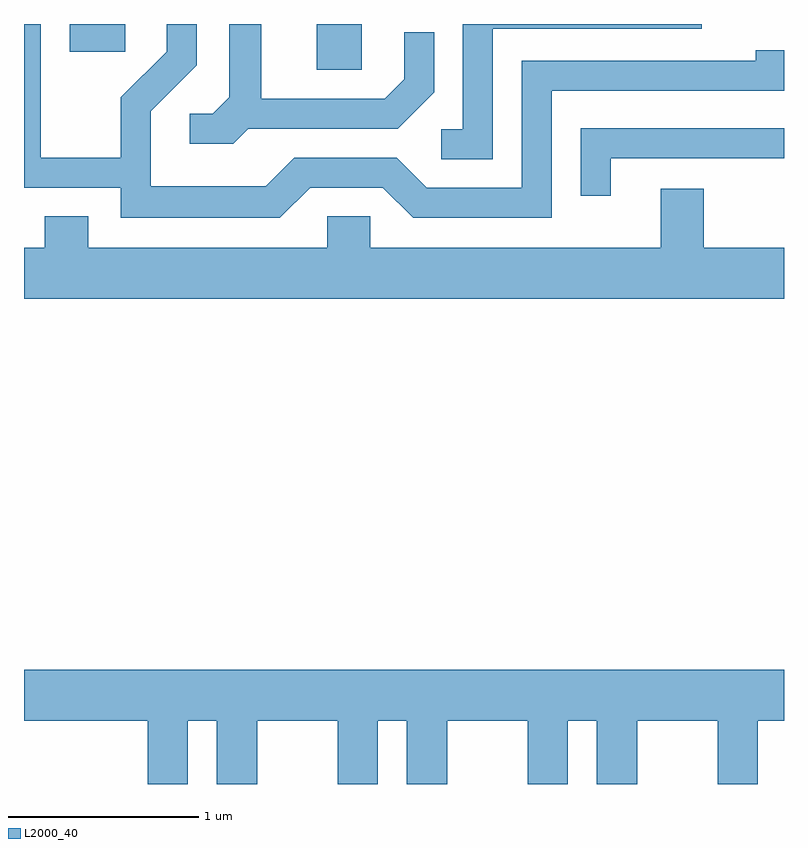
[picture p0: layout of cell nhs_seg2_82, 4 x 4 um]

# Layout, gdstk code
import gdstk
lib = gdstk.Library(unit=1e-6, precision=1e-09)
def R(c, l, rs):  # rectangles x0, y0, x1, y1
    for r in rs: c.add(gdstk.rectangle(r[:2], r[2:], *l))
def P(c, l, *ps):  # polygons
    for p in ps: c.add(gdstk.Polygon(p, *l))
L2000_40 = (2000, 40)

nhs_seg2_82 = lib.new_cell('nhs_seg2_82')
R(nhs_seg2_82, L2000_40, [(189.151,1009.561,189.389,1009.802), (187.851,1009.656,188.144,1009.802)])
P(nhs_seg2_82, L2000_40, [(189.117,1008.941),(189.499,1008.941),(189.659,1008.781),(190.389,1008.781),(190.389,1009.451),(191.611,1009.451),(191.611,1009.664),(191.461,1009.664),(191.461,1009.609),(190.231,1009.609),(190.231,1008.939),(189.732,1008.939),(189.572,1009.099),(189.034,1009.099),(188.884,1008.949),(188.279,1008.949),(188.279,1009.344),(188.519,1009.584),(188.519,1009.802),(188.361,1009.802),(188.361,1009.657),(188.121,1009.417),(188.121,1009.099),(187.699,1009.099),(187.699,1009.802),(187.611,1009.802),(187.611,1008.941),(188.121,1008.941),(188.121,1008.781),(188.957,1008.781)],
  [(190.079,1009.776),(191.178,1009.776),(191.178,1009.802),(189.921,1009.802),(189.921,1009.249),(189.808,1009.249),(189.808,1009.091),(190.079,1009.091)],
  [(188.792,1009.251),(189.577,1009.251),(189.769,1009.444),(189.769,1009.758),(189.611,1009.758),(189.611,1009.512),(189.509,1009.409),(188.859,1009.409),(188.859,1009.802),(188.691,1009.802),(188.691,1009.417),(188.604,1009.329),(188.483,1009.329),(188.483,1009.171),(188.712,1009.171)],
  [(190.699,1009.096),(191.611,1009.096),(191.611,1009.254),(190.541,1009.254),(190.541,1008.898),(190.699,1008.898)],
  [(191.611,1008.624),(191.189,1008.624),(191.189,1008.934),(190.961,1008.934),(190.961,1008.624),(189.434,1008.624),(189.434,1008.789),(189.206,1008.789),(189.206,1008.624),(187.949,1008.624),(187.949,1008.789),(187.721,1008.789),(187.721,1008.624),(187.611,1008.624),(187.611,1008.356),(191.611,1008.356)],
  [(188.474,1006.136),(188.626,1006.136),(188.626,1005.802),(188.839,1005.802),(188.839,1006.136),(189.261,1006.136),(189.261,1005.802),(189.474,1005.802),(189.474,1006.136),(189.626,1006.136),(189.626,1005.802),(189.839,1005.802),(189.839,1006.136),(190.261,1006.136),(190.261,1005.802),(190.474,1005.802),(190.474,1006.136),(190.626,1006.136),(190.626,1005.802),(190.839,1005.802),(190.839,1006.136),(191.261,1006.136),(191.261,1005.802),(191.474,1005.802),(191.474,1006.136),(191.611,1006.136),(191.611,1006.404),(187.611,1006.404),(187.611,1006.136),(188.261,1006.136),(188.261,1005.802),(188.474,1005.802)])

lib.write_gds('nhs_seg2_82.gds')
